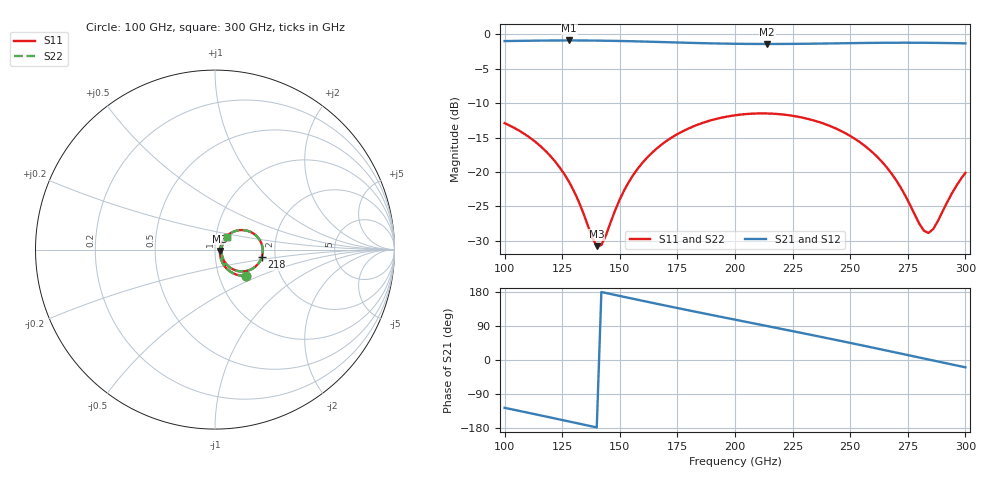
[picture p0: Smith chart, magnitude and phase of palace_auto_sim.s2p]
#  GHZ S DB R 50
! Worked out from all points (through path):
!   101 points, 100 GHz to 300 GHz, reference 50 ohm
!   highest |S21| = -0.90 dB at 128 GHz (marker M1); lowest = -1.4 dB at 214 GHz (marker M2)
!   group delay of S21, straight-line fit = 3.49 ps
!   lowest |S11| = -30.8 dB at 140 GHz (marker M3), VSWR 1.06, Z = 52.9 - j0.77 ohm
!   |S11| at or under -10 dB: start of sweep to end of sweep
!   |S22| runs from -30.7 to -11.5 dB; largest |S21 - S12| = 9.8e-14
!   S11 on the Smith chart (normalised r, x): 100 GHz: 1.35, -0.41; 218 GHz: 1.70, -0.15; 300 GHz: 1.13, +0.16
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100  -12.91 -39.7  -0.99 -126.2  -0.99 -126.2  -12.91 -39.7
116  -16.38 -54.8  -0.92 -146.7  -0.92 -146.7  -16.38 -54.9
128  -21.47 -60.3  -0.90 -162.3  -0.90 -162.3  -21.46 -60.4
134  -25.82 -53.5  -0.90 -170.1  -0.90 -170.1  -25.81 -53.5
140  -30.78 -14.6  -0.92 -178.0  -0.92 -178.0  -30.74 -14.6
142  -30.62 7.7  -0.93 179.4  -0.93 179.4  -30.58 7.6
150  -23.97 46.6  -0.98 169.0  -0.98 169.0  -23.96 46.4
154  -21.41 49.0  -1.00 163.8  -1.00 163.8  -21.39 48.8
160  -18.61 47.4  -1.05 156.1  -1.05 156.1  -18.60 47.2
168  -16.06 41.7  -1.13 145.9  -1.13 145.9  -16.05 41.4
184  -13.11 26.5  -1.28 126.0  -1.28 126.0  -13.10 26.2
200  -11.77 10.0  -1.38 106.5  -1.38 106.5  -11.76 9.7
214  -11.51 -4.8  -1.41 89.5  -1.41 89.5  -11.50 -5.0
218  -11.57 -9.0  -1.41 84.7  -1.41 84.7  -11.57 -9.3
234  -12.50 -25.6  -1.36 65.1  -1.36 65.1  -12.50 -25.9
254  -15.63 -44.7  -1.27 40.0  -1.27 40.0  -15.62 -45.0
268  -20.26 -52.1  -1.23 22.1  -1.23 22.1  -20.25 -52.4
280  -27.53 -29.2  -1.23 6.5  -1.23 6.5  -27.52 -29.5
284  -28.85 -0.3  -1.24 1.3  -1.24 1.3  -28.84 -0.7
286  -28.31 14.9  -1.25 -1.3  -1.25 -1.3  -28.30 14.5
294  -23.20 43.7  -1.28 -11.6  -1.28 -11.6  -23.20 43.3
300  -20.12 46.5  -1.32 -19.3  -1.32 -19.3  -20.12 46.1
